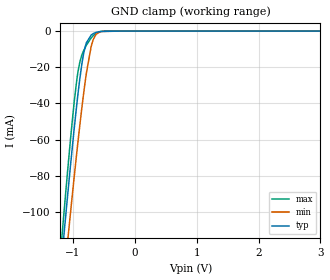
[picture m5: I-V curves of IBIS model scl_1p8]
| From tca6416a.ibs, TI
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|   scl_1p8 Model
[Model]   scl_1p8
Model_type   Input
Vinl = 0.54
Vinh = 1.26
|   typ   min   max
|   (nom PVT)   (fast PVT)   (slow PVT)
C_comp   1.391e-12   1.346e-12   1.465e-12
[Model spec]
|subparameter
Vinl   0.54   0.486   0.594
Vinh   1.26   1.134   1.386
| Where nom  PVT is Nominal Process, 1.8V, 27C
|   Fast PVT is Strong Process,  1.98V, -40C
|   Slow PVT is Weak Process,   1.62V, 106C
[Voltage Range]   1.8   1.62   1.98
|Junction Temperature
[Temperature Range]   27   106   -40
[Power Clamp Reference]   1.8   1.62   1.98
[GND Clamp Reference]   0   0   0
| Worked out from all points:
|   GND clamp passes 1 mA (typ) near -0.64 V on its own axis
[GND Clamp]
|   Voltage   I(typ)   I(min)   I(max)
-1.8V     -376.1mA   -384.2mA   -385.1mA
-1.192V   -130.9mA   -154.3mA   -120.2mA
-1.16V    -118.8mA   -142.9mA   -107.2mA
-1.117V   -102.8mA   -127.7mA   -90.01mA
-1.082V   -90.02mA   -115.5mA   -76.38mA
-1.039V   -74.65mA   -100.8mA   -60.19mA
-974.3mV  -52.78mA   -79.45mA   -38.09mA
-887.2mV  -26.41mA   -52.11mA   -17.18mA
-788.4mV  -7.206mA   -24.97mA   -8.279mA
-669.4mV  -1.38mA    -4.575mA   -2.471mA
-525.1mV  -120.6uA   -170.2uA   -175.3uA
3.6V      0A         0A         0A
[POWER Clamp]
|   Voltage   I(typ)   I(min)   I(max)
-1.8V     0A         0A         0A
0V        0A         0A         0A
3.6V      0A         0A         0A
